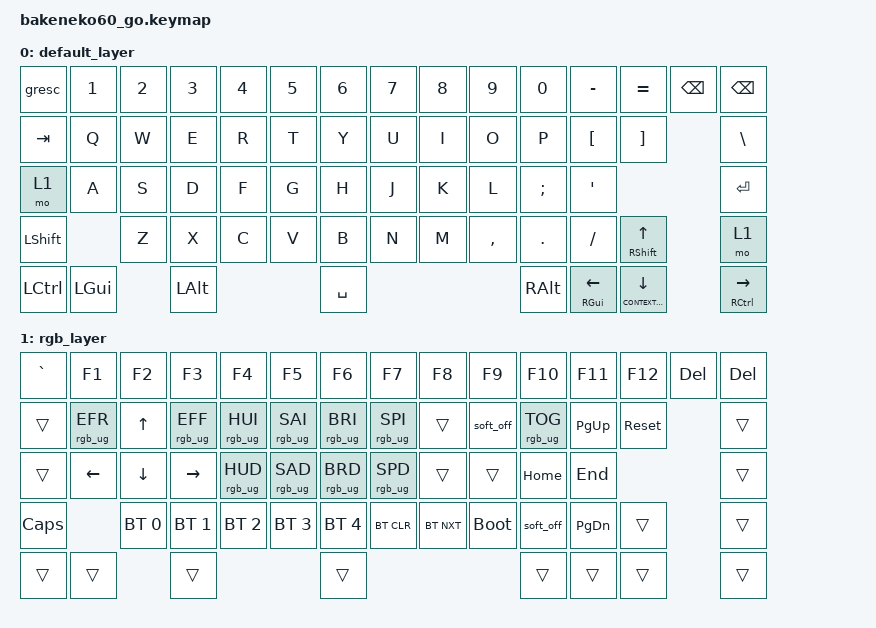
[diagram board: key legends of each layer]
/*
 * Copyright (c) 2023 Andrew Kannan
 *
 * SPDX-License-Identifier: MIT
 */

#include <behaviors.dtsi>
#include <dt-bindings/zmk/bt.h>
#include <dt-bindings/zmk/keys.h>
#include <dt-bindings/zmk/rgb.h>

/ {
    keymap {
        compatible = "zmk,keymap";

        default_layer {
            // ------------------------------------------------------------------------------------------
            // | ESC |  1  |  2  |  3  |  4  |  5  |  6  |  7  |  8  |  9  |  0  |  -  |  =  | BKSP|BKSP|
            // | TAB  |  Q  |  W  |  E  |  R  |  T  |  Y  |  U  |  I  |  O  |  P  |  [  |  ]  |   "|"   |
            // | CAPS  |  A  |  S  |  D  |  F  |  G  |  H  |  J  |  K  |  L  |  ;  |  '  |     ENTER    |
            // |  SHIFT  |  Z  |  X  |  C  |  V  |  B  |  N  |  M  |  ,  |  .  |  /  |  SHIFT  | MO(1)  |
            // |  CTL  |  WIN  |  ALT  |            SPACE              |  ALT  |  WIN  |  MO(1) |  CTL  |
            // ------------------------------------------------------------------------------------------

            bindings = <
&gresc     &kp N1    &kp N2  &kp N3    &kp N4  &kp N5  &kp N6     &kp N7  &kp N8  &kp N9     &kp N0    &kp MINUS      &kp EQUAL                &kp BSPC  &kp BSPC
&kp TAB    &kp Q     &kp W   &kp E     &kp R   &kp T   &kp Y      &kp U   &kp I   &kp O      &kp P     &kp LBKT       &kp RBKT                           &kp BSLH
&mo 1      &kp A     &kp S   &kp D     &kp F   &kp G   &kp H      &kp J   &kp K   &kp L      &kp SEMI  &kp SQT                                           &kp RET
&kp LSHFT            &kp Z   &kp X     &kp C   &kp V   &kp B      &kp N   &kp M   &kp COMMA  &kp DOT   &kp FSLH       &mt RSHFT UP                       &mo 1
&kp LCTRL  &kp LGUI          &kp LALT                  &kp SPACE                             &kp RALT  &mt RGUI LEFT  &mt K_CONTEXT_MENU DOWN            &mt RCTRL RIGHT
            >;
        };

        rgb_layer {
            // ------------------------------------------------------------------------------------------------
            // |    `   | F1  | F2  | F3  | F4  | F5  | F6  | F7  | F8  | F9  | F10  | F11 | F12 |     | DEL  |
            // | EFCT REV|   |  UP |   | HUEUP | SATUP | BRIUP | SPDUP |      |  PGUP |    |     |    |       |
            // | EFCT FWD | LT |  DN  | RT | HUEDN | SATDN | BRIDN | SPDDN | HOME | PGDN | END  |  | BOOTLDR  |
            // |             |     |      |      |     |     |     |     |     |     |     |         |        |
            // |         |      |      |             TOG RGB                | PRT SCR |       |       |  MO(2)|
            // ------------------------------------------------------------------------------------------------

            bindings = <
&kp GRAVE  &kp F1           &kp F2        &kp F3           &kp F4           &kp F5           &kp F6           &kp F7           &kp F8      &kp F9       &kp F10          &kp F11        &kp F12     &kp DEL  &kp DEL
&trans     &rgb_ug RGB_EFR  &kp UP        &rgb_ug RGB_EFF  &rgb_ug RGB_HUI  &rgb_ug RGB_SAI  &rgb_ug RGB_BRI  &rgb_ug RGB_SPI  &trans      &soft_off    &rgb_ug RGB_TOG  &kp PAGE_UP    &sys_reset           &trans
&trans     &kp LEFT         &kp DOWN      &kp RIGHT        &rgb_ug RGB_HUD  &rgb_ug RGB_SAD  &rgb_ug RGB_BRD  &rgb_ug RGB_SPD  &trans      &trans       &kp HOME         &kp END                             &trans
&kp CAPS                    &bt BT_SEL 0  &bt BT_SEL 1     &bt BT_SEL 2     &bt BT_SEL 3     &bt BT_SEL 4     &bt BT_CLR       &bt BT_NXT  &bootloader  &soft_off        &kp PAGE_DOWN  &trans               &trans
&trans     &trans                         &trans                                             &trans                                                     &trans           &trans         &trans               &trans
            >;
        };
    };

    combos { compatible = "zmk,combos"; };
};
